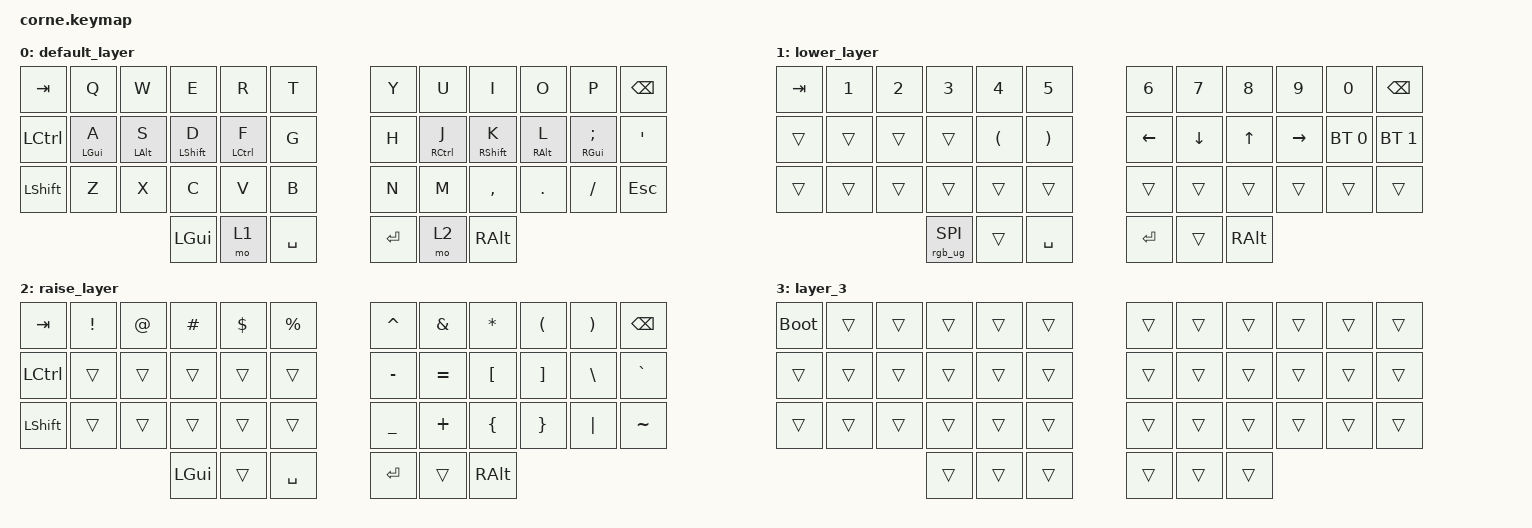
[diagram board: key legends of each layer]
/*
 * Copyright (c) 2020 The ZMK Contributors
 *
 * SPDX-License-Identifier: MIT
 */

#include <behaviors.dtsi>
#include <dt-bindings/zmk/bt.h>
#include <dt-bindings/zmk/keys.h>
#include <dt-bindings/zmk/rgb.h>

/ {
    behaviors {
        hrml: hrml {
            compatible = "zmk,behavior-hold-tap";
            label = "HRML";
            bindings = <&kp>, <&kp>;

            #binding-cells = <2>;
            tapping-term-ms = <200>;
            quick-tap-ms = <175>;
            hold-trigger-key-positions = <0 1 2 4 5 12 13 14 15 16 17 24 25 26 27 28 29 36 37 38 3>;
            hold-trigger-on-release;
        };

        hrmr: hrmr {
            compatible = "zmk,behavior-hold-tap";
            label = "HRMR";
            bindings = <&kp>, <&kp>;

            #binding-cells = <2>;
            tapping-term-ms = <200>;
            quick-tap-ms = <175>;
            hold-trigger-on-release;
            hold-trigger-key-positions = <6 7 8 9 10 11 18 19 20 21 22 23 30 31 32 33 34 35 39 40 41>;
        };
    };

    keymap {
        compatible = "zmk,keymap";

        default_layer {
            // -----------------------------------------------------------------------------------------
            // |  TAB |  Q  |  W  |  E  |  R  |  T  |   |  Y  |  U   |  I  |  O  |  P  | BKSP |
            // | CTRL |  A  |  S  |  D  |  F  |  G  |   |  H  |  J   |  K  |  L  |  ;  |  '   |
            // | SHFT |  Z  |  X  |  C  |  V  |  B  |   |  N  |  M   |  ,  |  .  |  /  | ESC  |
            //                    | GUI | LWR | SPC |   | ENT | RSE  | ALT |

            bindings = <
&kp TAB    &kp Q         &kp W         &kp E          &kp R          &kp T        &kp Y    &kp U          &kp I          &kp O         &kp P            &kp BSPC
&kp LCTRL  &hrml LGUI A  &hrml LALT S  &hrml LSHFT D  &hrml LCTRL F  &kp G        &kp H    &hrmr RCTRL J  &hrmr RSHFT K  &hrmr RALT L  &hrmr RGUI SEMI  &kp SQT
&kp LSHFT  &kp Z         &kp X         &kp C          &kp V          &kp B        &kp N    &kp M          &kp COMMA      &kp DOT       &kp FSLH         &kp ESC
                                       &kp LGUI       &mo 1          &kp SPACE    &kp RET  &mo 2          &kp RALT
            >;
        };

        lower_layer {
            // -----------------------------------------------------------------------------------------
            // |  TAB |  1  |  2  |  3  |  4  |  5  |   |  6  |  7  |  8  |  9  |  0  | BKSP |
            // | BTCLR| BT1 | BT2 | BT3 | BT4 | BT5 |   | LFT | DWN |  UP | RGT |     |      |
            // | SHFT |     |     |     |     |     |   |     |     |     |     |     |      |
            //                    | GUI |     | SPC |   | ENT |     | ALT |

            bindings = <
&kp TAB  &kp N1  &kp N2  &kp N3           &kp N4                &kp N5                   &kp N6    &kp N7    &kp N8    &kp N9     &kp N0        &kp BSPC
&trans   &trans  &trans  &trans           &kp LEFT_PARENTHESIS  &kp RIGHT_PARENTHESIS    &kp LEFT  &kp DOWN  &kp UP    &kp RIGHT  &bt BT_SEL 0  &bt BT_SEL 1
&trans   &trans  &trans  &trans           &trans                &trans                   &trans    &trans    &trans    &trans     &trans        &trans
                         &rgb_ug RGB_SPI  &trans                &kp SPACE                &kp RET   &trans    &kp RALT
            >;
        };

        raise_layer {
            // -----------------------------------------------------------------------------------------
            // |  TAB |  !  |  @  |  #  |  $  |  %  |   |  ^  |  &  |  *  |  (  |  )  | BKSP |
            // | CTRL |     |     |     |     |     |   |  -  |  =  |  [  |  ]  |  \  |  `   |
            // | SHFT |     |     |     |     |     |   |  _  |  +  |  {  |  }  | "|" |  ~   |
            //                    | GUI |     | SPC |   | ENT |     | ALT |

            bindings = <
&kp TAB    &kp EXCL  &kp AT  &kp HASH  &kp DLLR  &kp PRCNT    &kp CARET  &kp AMPS   &kp ASTRK  &kp LPAR  &kp RPAR  &kp BSPC
&kp LCTRL  &trans    &trans  &trans    &trans    &trans       &kp MINUS  &kp EQUAL  &kp LBKT   &kp RBKT  &kp BSLH  &kp GRAVE
&kp LSHFT  &trans    &trans  &trans    &trans    &trans       &kp UNDER  &kp PLUS   &kp LBRC   &kp RBRC  &kp PIPE  &kp TILDE
                             &kp LGUI  &trans    &kp SPACE    &kp RET    &trans     &kp RALT
            >;
        };

        layer_3 {
            bindings = <
&bootloader  &trans  &trans  &trans  &trans  &trans    &trans  &trans  &trans  &trans  &trans  &trans
&trans       &trans  &trans  &trans  &trans  &trans    &trans  &trans  &trans  &trans  &trans  &trans
&trans       &trans  &trans  &trans  &trans  &trans    &trans  &trans  &trans  &trans  &trans  &trans
                             &trans  &trans  &trans    &trans  &trans  &trans
            >;
        };
    };
};
